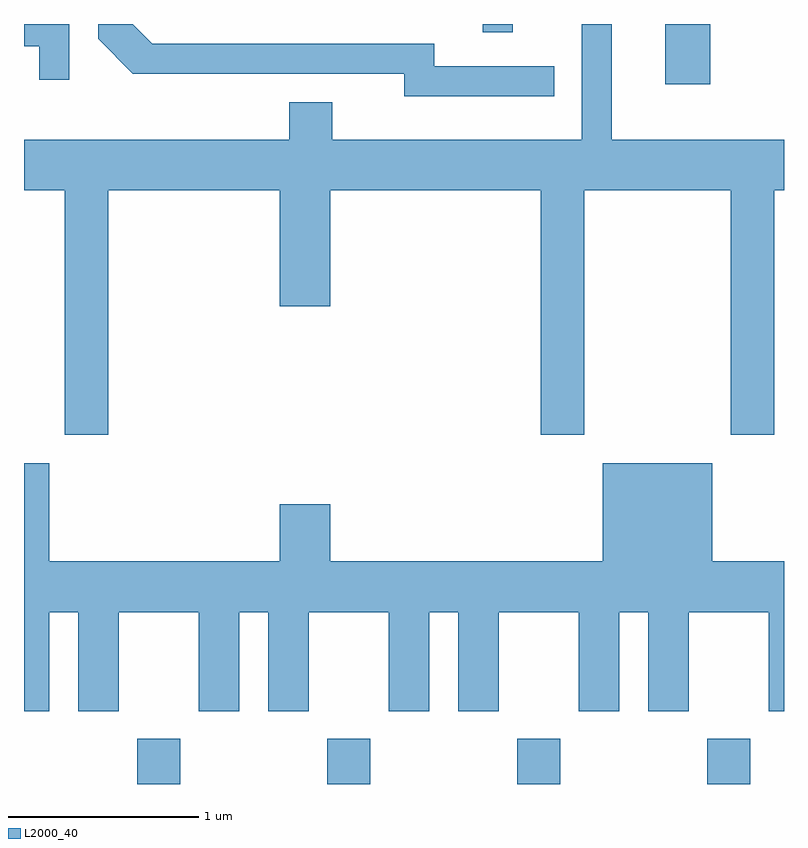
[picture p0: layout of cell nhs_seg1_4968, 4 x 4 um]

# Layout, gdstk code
import gdstk
lib = gdstk.Library(unit=1e-6, precision=1e-09)
def R(c, l, rs):  # rectangles x0, y0, x1, y1
    for r in rs: c.add(gdstk.rectangle(r[:2], r[2:], *l))
def A(c, l, x, y, w, h, nx, ny, dx, dy):  # array of equal rectangles
    R(c, l, [(x+i*dx, y+j*dy, x+i*dx+w, y+j*dy+h) for i in range(nx) for j in range(ny)])
def P(c, l, *ps):  # polygons
    for p in ps: c.add(gdstk.Polygon(p, *l))
L2000_40 = (2000, 40)

nhs_seg1_4968 = lib.new_cell('nhs_seg1_4968')
A(nhs_seg1_4968, L2000_40, 334.206, 969.712, 0.228, 0.237, 4, 1, 1, 0)
R(nhs_seg1_4968, L2000_40, [(336.986,973.396,337.224,973.712), (336.026,973.668,336.184,973.712)])
P(nhs_seg1_4968, L2000_40, [(336.403,973.489),(335.769,973.489),(335.769,973.609),(334.287,973.609),(334.184,973.712),(334.001,973.712),(334.001,973.634),(334.184,973.451),(335.611,973.451),(335.611,973.331),(336.403,973.331)],
  [(333.849,973.712),(333.611,973.712),(333.611,973.596),(333.691,973.596),(333.691,973.418),(333.849,973.418)],
  [(334.054,972.836),(334.956,972.836),(334.956,972.226),(335.224,972.226),(335.224,972.836),(336.331,972.836),(336.331,971.551),(336.559,971.551),(336.559,972.836),(337.331,972.836),(337.331,971.551),(337.559,971.551),(337.559,972.836),(337.611,972.836),(337.611,973.104),(336.704,973.104),(336.704,973.712),(336.546,973.712),(336.546,973.104),(335.234,973.104),(335.234,973.299),(335.006,973.299),(335.006,973.104),(333.611,973.104),(333.611,972.836),(333.826,972.836),(333.826,971.551),(334.054,971.551)],
  [(333.744,970.616),(333.896,970.616),(333.896,970.096),(334.109,970.096),(334.109,970.616),(334.531,970.616),(334.531,970.096),(334.744,970.096),(334.744,970.616),(334.896,970.616),(334.896,970.096),(335.109,970.096),(335.109,970.616),(335.531,970.616),(335.531,970.096),(335.744,970.096),(335.744,970.616),(335.896,970.616),(335.896,970.096),(336.109,970.096),(336.109,970.616),(336.531,970.616),(336.531,970.096),(336.744,970.096),(336.744,970.616),(336.896,970.616),(336.896,970.096),(337.109,970.096),(337.109,970.616),(337.531,970.616),(337.531,970.096),(337.611,970.096),(337.611,970.884),(337.234,970.884),(337.234,971.399),(336.656,971.399),(336.656,970.884),(335.224,970.884),(335.224,971.184),(334.956,971.184),(334.956,970.884),(333.744,970.884),(333.744,971.399),(333.611,971.399),(333.611,970.096),(333.744,970.096)])

lib.write_gds('nhs_seg1_4968.gds')
